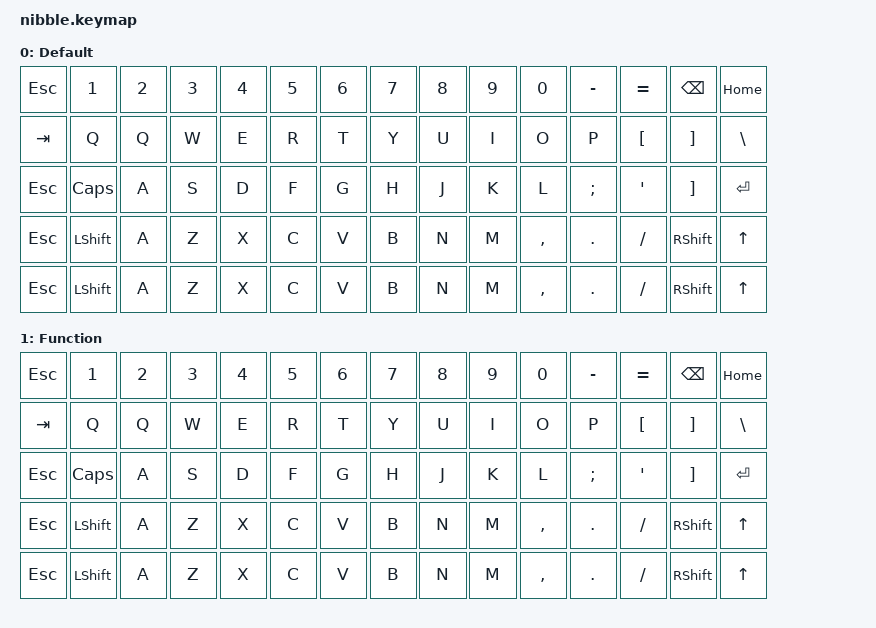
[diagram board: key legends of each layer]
/*
 * Copyright (c) 2020 The ZMK Contributors
 *
 * SPDX-License-Identifier: MIT
 */

#include <behaviors.dtsi>
#include <dt-bindings/zmk/keys.h>
#include <dt-bindings/zmk/bt.h>

/
	keymap {
		compatible = "zmk,keymap";

		default_layer {
			label = "Default";

			bindings = <
&kp ESC     &kp N1    &kp N2    &kp N3    &kp N4    &kp N5    &kp N6    &kp N7    &kp N8    &kp N9  &kp N0    &kp MINUS &kp EQUAL &kp BSPC  &kp HOME
&kp TAB     &kp Q     &kp Q     &kp W     &kp E     &kp R     &kp T     &kp Y     &kp U     &kp I   &kp O     &kp P     &kp LBKT  &kp RBKT  &kp BSLH
&kp ESC     &kp CLCK  &kp A     &kp S     &kp D     &kp F     &kp G     &kp H     &kp J     &kp K   &kp L     &kp SEMI  &kp SQT   &kp RBKT  &kp RET
&kp ESC     &kp LSHFT &kp A     &kp Z     &kp X     &kp C     &kp V     &kp B     &kp N     &kp M   &kp COMMA &kp DOT   &kp FSLH  &kp RSHFT &kp UP
&kp ESC     &kp LSHFT &kp A     &kp Z     &kp X     &kp C     &kp V     &kp B     &kp N     &kp M   &kp COMMA &kp DOT   &kp FSLH  &kp RSHFT &kp UP
			>;
		};
		function_layer {
			label = "Function";

			bindings = <
&kp ESC     &kp N1    &kp N2    &kp N3    &kp N4    &kp N5    &kp N6    &kp N7    &kp N8    &kp N9  &kp N0    &kp MINUS &kp EQUAL &kp BSPC  &kp HOME
&kp TAB     &kp Q     &kp Q     &kp W     &kp E     &kp R     &kp T     &kp Y     &kp U     &kp I   &kp O     &kp P     &kp LBKT  &kp RBKT  &kp BSLH
&kp ESC     &kp CLCK  &kp A     &kp S     &kp D     &kp F     &kp G     &kp H     &kp J     &kp K   &kp L     &kp SEMI  &kp SQT   &kp RBKT  &kp RET
&kp ESC     &kp LSHFT &kp A     &kp Z     &kp X     &kp C     &kp V     &kp B     &kp N     &kp M   &kp COMMA &kp DOT   &kp FSLH  &kp RSHFT &kp UP
&kp ESC     &kp LSHFT &kp A     &kp Z     &kp X     &kp C     &kp V     &kp B     &kp N     &kp M   &kp COMMA &kp DOT   &kp FSLH  &kp RSHFT &kp UP
			>;
		};
	};
};
